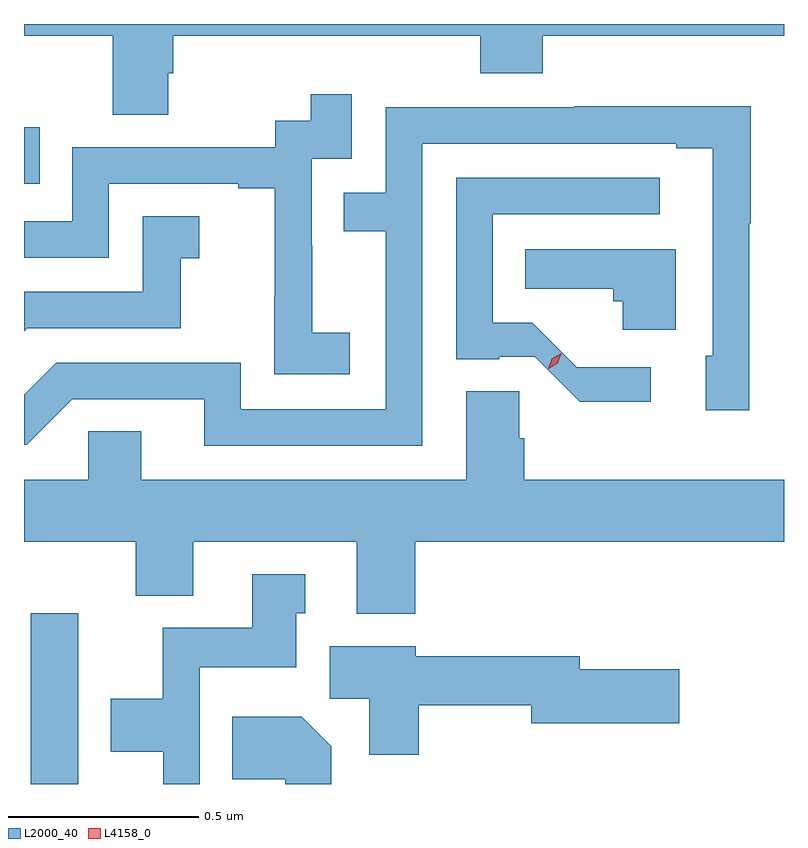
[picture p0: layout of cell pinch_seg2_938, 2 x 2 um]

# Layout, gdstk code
import gdstk
lib = gdstk.Library(unit=1e-6, precision=1e-09)
def R(c, l, rs):  # rectangles x0, y0, x1, y1
    for r in rs: c.add(gdstk.rectangle(r[:2], r[2:], *l))
def P(c, l, *ps):  # polygons
    for p in ps: c.add(gdstk.Polygon(p, *l))
L2000_40 = (2000, 40)
L4158_0 = (4158, 0)

pinch_seg2_938 = lib.new_cell('pinch_seg2_938')
R(pinch_seg2_938, L2000_40, [(494.141,643.003,494.266,643.453), (494.123,644.583,494.165,644.731)])
P(pinch_seg2_938, L2000_40, [(494.503,644.874),(494.516,644.874),(494.516,644.972),(495.323,644.972),(495.323,644.873),(495.488,644.873),(495.488,644.972),(496.123,644.972),(496.123,645.003),(494.123,645.003),(494.123,644.972),(494.356,644.972),(494.356,644.764),(494.503,644.764)],
  [(494.98,644.191),(494.882,644.191),(494.882,644.42),(494.88,644.42),(494.88,644.649),(494.985,644.649),(494.985,644.818),(494.877,644.818),(494.877,644.748),(494.784,644.748),(494.784,644.679),(494.25,644.679),(494.25,644.484),(494.123,644.484),(494.123,644.388),(494.346,644.388),(494.346,644.583),(494.687,644.583),(494.687,644.571),(494.783,644.571),(494.783,644.287),(494.782,644.287),(494.782,644.081),(494.98,644.081)],
  [(495.171,644.688),(495.839,644.688),(495.839,644.676),(495.936,644.676),(495.936,644.13),(495.917,644.13),(495.917,643.986),(496.032,643.986),(496.032,644.479),(496.035,644.479),(496.035,644.786),(495.571,644.786),(495.571,644.784),(495.075,644.784),(495.075,644.559),(494.965,644.559),(494.965,644.458),(495.075,644.458),(495.075,643.989),(494.694,643.989),(494.694,644.112),(494.208,644.112),(494.123,644.027),(494.123,643.896),(494.13,643.896),(494.25,644.016),(494.597,644.016),(494.597,643.893),(495.171,643.893)],
  [(495.772,644.1),(495.577,644.1),(495.46,644.217),(495.357,644.217),(495.357,644.502),(495.796,644.502),(495.796,644.598),(495.261,644.598),(495.261,644.121),(495.374,644.121),(495.374,644.127),(495.467,644.127),(495.586,644.009),(495.772,644.009)],
  [(494.131,644.202),(494.535,644.202),(494.535,644.387),(494.584,644.387),(494.584,644.497),(494.436,644.497),(494.436,644.298),(494.123,644.298),(494.123,644.194)],
  [(495.838,644.41),(495.442,644.41),(495.442,644.306),(495.673,644.306),(495.673,644.274),(495.698,644.274),(495.698,644.198),(495.838,644.198)],
  [(496.123,643.804),(495.44,643.804),(495.44,643.913),(495.426,643.913),(495.426,644.036),(495.287,644.036),(495.287,643.804),(494.431,643.804),(494.431,643.931),(494.292,643.931),(494.292,643.804),(494.123,643.804),(494.123,643.64),(494.417,643.64),(494.417,643.499),(494.569,643.499),(494.569,643.64),(494.999,643.64),(494.999,643.451),(495.152,643.451),(495.152,643.64),(496.123,643.64)],
  [(494.586,643.31),(494.839,643.31),(494.839,643.452),(494.863,643.452),(494.863,643.555),(494.723,643.555),(494.723,643.414),(494.488,643.414),(494.488,643.228),(494.351,643.228),(494.351,643.088),(494.49,643.088),(494.49,643.003),(494.586,643.003)],
  [(495.162,643.21),(495.458,643.21),(495.458,643.163),(495.847,643.163),(495.847,643.305),(495.586,643.305),(495.586,643.339),(495.154,643.339),(495.154,643.366),(494.927,643.366),(494.927,643.228),(495.032,643.228),(495.032,643.08),(495.162,643.08)],
  [(494.932,643.102),(494.854,643.18),(494.671,643.18),(494.671,643.016),(494.81,643.016),(494.81,643.003),(494.932,643.003)])
P(pinch_seg2_938, L4158_0, [(495.503,644.096),(495.503,644.096),(495.512,644.122),(495.537,644.136),(495.537,644.136),(495.537,644.136),(495.528,644.11),(495.504,644.096)])

lib.write_gds('pinch_seg2_938.gds')
